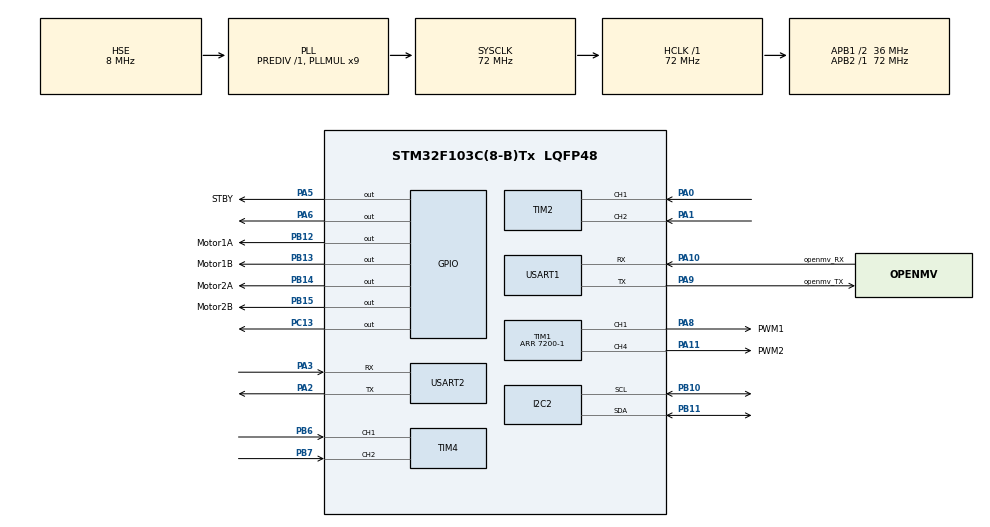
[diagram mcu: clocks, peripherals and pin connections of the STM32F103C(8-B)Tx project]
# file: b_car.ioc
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Dma.Request0=USART1_RX
Dma.USART1_RX.0.Direction=DMA_PERIPH_TO_MEMORY
Dma.USART1_RX.0.Instance=DMA1_Channel5
Dma.USART1_RX.0.MemDataAlignment=DMA_MDATAALIGN_BYTE
Dma.USART1_RX.0.MemInc=DMA_MINC_ENABLE
Dma.USART1_RX.0.Mode=DMA_CIRCULAR
Dma.USART1_RX.0.PeriphDataAlignment=DMA_PDATAALIGN_BYTE
Dma.USART1_RX.0.PeriphInc=DMA_PINC_DISABLE
Dma.USART1_RX.0.Priority=DMA_PRIORITY_LOW
I2C2.I2C_Mode=I2C_Fast
Mcu.Family=STM32F1
Mcu.Name=STM32F103C(8-B)Tx
Mcu.Package=LQFP48
NVIC.DMA1_Channel5_IRQn=true\:0\:0\:false\:false\:true\:false\:true
NVIC.PriorityGroup=NVIC_PRIORITYGROUP_4
NVIC.TIM3_IRQn=true\:0\:0\:false\:false\:true\:true\:true
NVIC.USART1_IRQn=true\:0\:0\:false\:false\:true\:true\:true
NVIC.USART2_IRQn=true\:0\:0\:false\:false\:true\:true\:true
PA0-WKUP.Signal=S_TIM2_CH1_ETR
PA1.Signal=S_TIM2_CH2
PA10.GPIO_Label=openmv_RX
PA10.Mode=Asynchronous
PA10.Signal=USART1_RX
PA11.GPIO_Label=PWM2
PA11.Signal=S_TIM1_CH4
PA13.Mode=Serial_Wire
PA13.Signal=SYS_JTMS-SWDIO
PA14.Mode=Serial_Wire
PA14.Signal=SYS_JTCK-SWCLK
PA2.Mode=Asynchronous
PA2.Signal=USART2_TX
PA3.Mode=Asynchronous
PA3.Signal=USART2_RX
PA5.GPIO_Label=STBY
PA5.Signal=GPIO_Output
PA6.Signal=GPIO_Output
PA7.Signal=S_TIM3_CH2
PA8.GPIO_Label=PWM1
PA8.Signal=S_TIM1_CH1
PA9.GPIO_Label=openmv_TX
PA9.Mode=Asynchronous
PA9.Signal=USART1_TX
PB10.Mode=I2C
PB10.Signal=I2C2_SCL
PB11.Mode=I2C
PB11.Signal=I2C2_SDA
PB12.GPIO_Label=Motor1A
PB12.Signal=GPIO_Output
PB13.GPIO_Label=Motor1B
PB13.Signal=GPIO_Output
PB14.GPIO_Label=Motor2A
PB14.Signal=GPIO_Output
PB15.GPIO_Label=Motor2B
PB15.Signal=GPIO_Output
PB6.Signal=S_TIM4_CH1
PB7.Signal=S_TIM4_CH2
PC13-TAMPER-RTC.Signal=GPIO_Output
PD0-OSC_IN.Mode=HSE-External-Oscillator
PD0-OSC_IN.Signal=RCC_OSC_IN
PD1-OSC_OUT.Mode=HSE-External-Oscillator
PD1-OSC_OUT.Signal=RCC_OSC_OUT
ProjectManager.HeapSize=0x200
ProjectManager.StackSize=0x400
ProjectManager.TargetToolchain=MDK-ARM V5.32
RCC.AHBFreq_Value=72000000
RCC.APB1CLKDivider=RCC_HCLK_DIV2
RCC.APB1Freq_Value=36000000
RCC.APB1TimFreq_Value=72000000
RCC.APB2Freq_Value=72000000
RCC.APB2TimFreq_Value=72000000
RCC.HCLKFreq_Value=72000000
RCC.PLLMUL=RCC_PLL_MUL9
RCC.PLLSourceVirtual=RCC_PLLSOURCE_HSE
RCC.SYSCLKFreq_VALUE=72000000
RCC.SYSCLKSource=RCC_SYSCLKSOURCE_PLLCLK
RCC.USBFreq_Value=72000000
SH.S_TIM1_CH1.0=TIM1_CH1,PWM Generation1 CH1
SH.S_TIM1_CH4.0=TIM1_CH4,PWM Generation4 CH4
SH.S_TIM2_CH1_ETR.0=TIM2_CH1,Encoder_Interface
SH.S_TIM2_CH2.0=TIM2_CH2,Encoder_Interface
SH.S_TIM3_CH2.0=TIM3_CH2
SH.S_TIM4_CH1.0=TIM4_CH1,Encoder_Interface
SH.S_TIM4_CH2.0=TIM4_CH2,Encoder_Interface
TIM1.Channel-PWM\ Generation1\ CH1=TIM_CHANNEL_1
TIM1.Channel-PWM\ Generation4\ CH4=TIM_CHANNEL_4
TIM1.Period=7200-1
TIM2.EncoderMode=TIM_ENCODERMODE_TI12
TIM3.AutoReloadPreload=TIM_AUTORELOAD_PRELOAD_ENABLE
TIM3.Period=500-1
TIM3.Prescaler=720-1
TIM4.EncoderMode=TIM_ENCODERMODE_TI12
TIM4.IC2Polarity=TIM_ICPOLARITY_RISING
USART1.VirtualMode=VM_ASYNC
USART2.VirtualMode=VM_ASYNC
VP_TIM1_VS_ClockSourceINT.Mode=Internal
VP_TIM3_VS_ClockSourceINT.Mode=Internal
board=custom

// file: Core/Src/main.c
/* USER CODE BEGIN Header */
/**
  ******************************************************************************
  * @file           : main.c
  * @brief          : Main program body
  ******************************************************************************
  * @attention
  *
  * Copyright (c) 2022 STMicroelectronics.
  * All rights reserved.
  *
  * This software is licensed under terms that can be found in the LICENSE file
  * in the root directory of this software component.
  * If no LICENSE file comes with this software, it is provided AS-IS.
  *
  ******************************************************************************
  */
/* USER CODE END Header */
#include "main.h"
#include "dma.h"
#include "i2c.h"
#include "tim.h"
#include "usart.h"
#include "gpio.h"

/* USER CODE BEGIN Includes */
#include "stdio.h"
#include "mpu6050.h"
#include "control.h"
#include "encoder.h"
#include "JSON.h"
/* USER CODE END Includes */

/* USER CODE BEGIN PD */
#define PWM_MAX 7200
#define PWM_MIN -7200
#define MedAngle -1.45001
MPU6050_t MPU6050;
#define speed_max 10000
#define LENGTH 20
/* USER CODE END PD */

/* USER CODE BEGIN PV */
		int Moto1,Moto2,EncoderLeft,EncoderRight,Vertical_out,Velocity_out,Turn_out,PWM_out;
		extern float Vertical_Kp, Vertical_Kd, Velocity_Kp, Velocity_Ki;
    float pitch,roll,yaw; 		    //欧拉角
    short aacx,aacy,aacz;			//加速度传感器原始数据
    short gyrox,gyroy,gyroz;		//陀螺仪原始数据
    float temp;				//温度
		uint8_t RxBuffer[5]={0};
		uint8_t RxBuffer1[5]={0};
		uint8_t RxBuffer2[20]={0};
		short theta=0;
		short rho=0;
		float  target_speed=0;
		int turn_speed=0;
		int Forward=0;
		int Back=0;
		int Left=0 ;
		int Right=0;
		volatile int flag=1;
		int distance=100;
		int RxCount=0;
		extern DMA_HandleTypeDef hdma_usart1_rx;
		volatile int  rxflag=0;
/* USER CODE END PV */

void SystemClock_Config(void);

int main(void)
{

  /* MCU Configuration--------------------------------------------------------*/

  /* Reset of all peripherals, Initializes the Flash interface and the Systick. */
  HAL_Init();

  /* Configure the system clock */
  SystemClock_Config();

  /* Initialize all configured peripherals */
  MX_GPIO_Init();
	MX_DMA_Init();
  MX_TIM1_Init();
  MX_TIM2_Init();
  MX_TIM4_Init();
  MX_USART2_UART_Init();
  MX_TIM3_Init();
  MX_USART1_UART_Init();
  MX_I2C2_Init();
  /* USER CODE BEGIN 2 */

HAL_TIM_Encoder_Start (&htim2 ,TIM_CHANNEL_ALL );
HAL_TIM_Encoder_Start (&htim4 ,TIM_CHANNEL_ALL );
HAL_TIM_Base_Start_IT (&htim3 );
HAL_GPIO_WritePin (GPIOA ,GPIO_PIN_5,GPIO_PIN_SET );
__HAL_UART_ENABLE_IT(&huart1 ,UART_IT_IDLE );
HAL_UART_Receive_IT (&huart2,RxBuffer ,1);
HAL_UART_Receive_DMA (&huart1 ,RxBuffer2,LENGTH);

   while (MPU6050_Init(&hi2c2) == 1);

  /* USER CODE END 2 */

  /* Infinite loop */
  while (1)
  {

  }
}

void SystemClock_Config(void)
{
  RCC_OscInitTypeDef RCC_OscInitStruct = {0};
  RCC_ClkInitTypeDef RCC_ClkInitStruct = {0};

  /** Initializes the RCC Oscillators according to the specified parameters
  * in the RCC_OscInitTypeDef structure.
  */
  RCC_OscInitStruct.OscillatorType = RCC_OSCILLATORTYPE_HSE;
  RCC_OscInitStruct.HSEState = RCC_HSE_ON;
  RCC_OscInitStruct.HSEPredivValue = RCC_HSE_PREDIV_DIV1;
  RCC_OscInitStruct.HSIState = RCC_HSI_ON;
  RCC_OscInitStruct.PLL.PLLState = RCC_PLL_ON;
  RCC_OscInitStruct.PLL.PLLSource = RCC_PLLSOURCE_HSE;
  RCC_OscInitStruct.PLL.PLLMUL = RCC_PLL_MUL9;
  if (HAL_RCC_OscConfig(&RCC_OscInitStruct) != HAL_OK)
  {
    Error_Handler();
  }
  /** Initializes the CPU, AHB and APB buses clocks
  */
  RCC_ClkInitStruct.ClockType = RCC_CLOCKTYPE_HCLK|RCC_CLOCKTYPE_SYSCLK
                              |RCC_CLOCKTYPE_PCLK1|RCC_CLOCKTYPE_PCLK2;
  RCC_ClkInitStruct.SYSCLKSource = RCC_SYSCLKSOURCE_PLLCLK;
  RCC_ClkInitStruct.AHBCLKDivider = RCC_SYSCLK_DIV1;
  RCC_ClkInitStruct.APB1CLKDivider = RCC_HCLK_DIV2;
  RCC_ClkInitStruct.APB2CLKDivider = RCC_HCLK_DIV1;

  if (HAL_RCC_ClockConfig(&RCC_ClkInitStruct, FLASH_LATENCY_2) != HAL_OK)
  {
    Error_Handler();
  }
}

/* USER CODE BEGIN 4 */
/*********************
控制具体前进的位移
以cm为单位！
**********************/
float   SetSpeed(int dist)
{
	static  int sum_count=0;
	float speed,d_distance;
	float real_distance;
	if(flag ){
	sum_count+=(EncoderLeft +EncoderRight) /2;
	real_distance =sum_count /898.04*20.41;
	d_distance =dist -real_distance ;
	speed=d_distance*1000 ;
	if(real_distance -dist <1&&real_distance -dist >-1)
	{speed =0;flag=0;}}
return speed ;
}
/*限幅函数*/
void Limit(int *motoA,int *motoB)
{
	if(*motoA>PWM_MAX)*motoA=PWM_MAX;
	if(*motoA<PWM_MIN)*motoA=PWM_MIN;

	if(*motoB>PWM_MAX)*motoB=PWM_MAX;
	if(*motoB<PWM_MIN)*motoB=PWM_MIN;
}
void SpeedLimit(float *target_speed)
{
		if(*target_speed>speed_max )*target_speed =speed_max;
		if(*target_speed<-speed_max)*target_speed =-speed_max;

}
void HAL_TIM_PeriodElapsedCallback(TIM_HandleTypeDef *htim)
{
	if(htim ==&htim3)
	{

		EncoderLeft=GetEncoder(2);
		EncoderRight=GetEncoder(4);																		//获取左右轮转速

//	HAL_GPIO_TogglePin (GPIOC ,GPIO_PIN_13 );
		MPU6050_Read_All(&hi2c2, &MPU6050);//得到陀螺仪数据
		if(MPU6050.KalmanAngleX ||MPU6050 .Gyro_X_RAW){
			HAL_GPIO_WritePin (GPIOC ,GPIO_PIN_13 ,GPIO_PIN_RESET );HAL_TIM_PWM_Start(&htim1,TIM_CHANNEL_1  );
			HAL_TIM_PWM_Start(&htim1,TIM_CHANNEL_4  );}
		else HAL_GPIO_WritePin (GPIOC ,GPIO_PIN_13 ,GPIO_PIN_SET );

		Vertical_out=Vertical(MedAngle,MPU6050 .KalmanAngleX,MPU6050.Gyro_X_RAW+253);	//直立环计算
		if(Forward ==1&&Back ==0&&Left ==0&&Right ==0)target_speed =8000;
		else if(Forward ==0&&Back ==1&&Left ==0&&Right ==0)target_speed =-8000;
		else if(Forward ==0&&Back ==0&&Left ==1&&Right ==0)turn_speed =5000;
		else if(Forward ==0&&Back ==0&&Left ==0&&Right ==1)turn_speed =-5000;
		if(Forward ==0&&Back ==0&&Left ==0&&Right ==0){target_speed =0;turn_speed =0;}
		if(flag )
		target_speed = SetSpeed  (distance);

		else  target_speed =0;
		SpeedLimit (&target_speed );
		Velocity_out=Velocity(target_speed,EncoderLeft,EncoderRight);							//速度环计算
		Turn_out=Turn(MPU6050 .Gyro_Z_RAW,turn_speed);														  //转向环计算
		PWM_out=Vertical_out-Velocity_out;								//最终输出
		Moto1=PWM_out-Turn_out+Follow (theta,rho);
		Moto2=PWM_out+Turn_out-Follow(theta,rho);																				//计算最终输出
		Limit(&Moto1,&Moto2);
		printf ("%f,0\r\n",MPU6050.KalmanAngleX);
		if(MPU6050 .KalmanAngleX >50||MPU6050 .KalmanAngleX <-50) {Moto1 =0;Moto2 =0;}		//PWM限幅
		Load (Moto1  ,Moto2   );

	}

}
void HAL_UART_RxCpltCallback(UART_HandleTypeDef *huart)
{
	if(huart ==&huart2 )
	{
		printf("%d\r\n", (int)Vertical_Kp);
		switch (RxBuffer [0])
		{
			case '0': {Forward =0;Back =0;Left =0;Right =0;break;}
			case '1':	{Forward =1;Back =0;Left =0;Right =0;break;}
			case '2':	{Forward =0;Back =0;Left =1;Right =0;break;}
			case '3': {Forward =0;Back =0;Left =0;Right =1;break;}
			case '4': {Forward =0;Back =1;Left =0;Right =0;break;}
			default :{	Forward =0;Back =0;Left =0;Right =0;break ;}
		}
		if ((float)RxBuffer1[0]>1000)
		{
			HAL_GPIO_TogglePin (GPIOC ,GPIO_PIN_13 );
			Vertical_Kp = ((float)RxBuffer1[0]-1000)* 100;

		}
		HAL_UART_Receive_IT (&huart2 ,RxBuffer ,1);
	}

	if(huart==&huart1 )
	{
	if(RxBuffer2[0]==0xaa&&RxBuffer2[1]==0x12&&RxBuffer2 [6]==0x5b)
	{
		theta =RxBuffer2[3]<<8|RxBuffer2[2];
		rho =RxBuffer2[5]<<8|RxBuffer2[4];
	}
	}
}

int fputc(int ch,FILE *f)
{
HAL_UART_Transmit (&huart1  ,(uint8_t *)&ch,1,HAL_MAX_DELAY );

return ch;

}

/* USER CODE END 4 */

void Error_Handler(void)
{
  __disable_irq();
  while (1)
  {
  }
}
